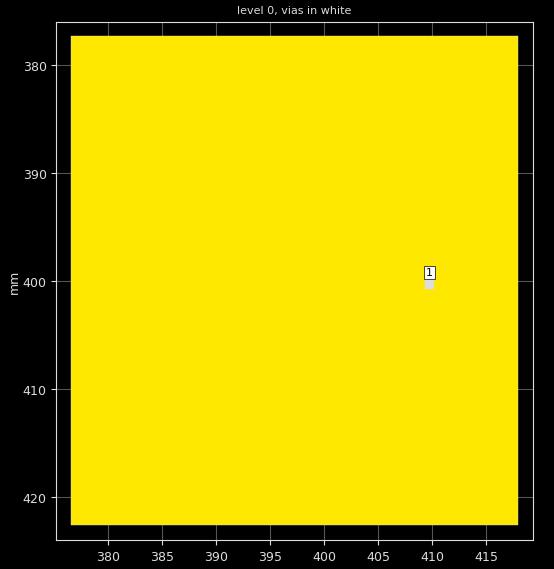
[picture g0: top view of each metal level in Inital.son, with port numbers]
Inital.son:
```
FTYP SONPROJ 4 ! Sonnet Project File
VER 12.52
HEADER
LIC sonnet9.aa.99999
DAT 11/29/2011 10:42:24
BUILT_BY_CREATED example 13.01 02/23/2011 18:03:12
BUILT_BY_SAVED xgeom "14.01.002 alpha"
MDATE 05/20/2011 09:50:02
HDATE 05/20/2011 09:50:02
END HEADER
DIM
FREQ GHZ
IND NH
LNG MM
ANG DEG
CON /OH
CAP PF
RES OH
END DIM
FREQ
SIMPLE 2.086
ABS 2.086 2.6 
STEP 2.12
STEP 2.305
STEP 2.48
END FREQ
CONTROL
SIMPLE
OPTIONS  -dj 
SPEED 0
CACHE_ABS 1
TARG_ABS 300
Q_ACC N
END CONTROL
GEO
SYM
TMET "Free Space" 0 FREESPACE 376.7303136 0 0 0
BMET "Lossless" 0 SUP 0 0 0 0
BOX 1 800 800 2048 2048 20 0
      50 1 1 0 0 0 2 "Air"
      3.04 2.94 1 0.0012 0 0 2 "Rogers RT6002"
POR1 STD
POLY 11 1
0
1 50 0 0 0 409.765625 399.21875 
NUM 2
0 5 -1 N 9 1 1 100 100 0 0 0 Y
417.96875 422.65625
376.5625 422.65625
376.5625 377.34375
417.96875 377.34375
417.96875 422.65625
END
VIA POLYGON
1 5 -1 N 11 1 1 100 100 0 0 0 Y
TOLEVEL 0
409.375 399.21875
410.15625 399.21875
410.15625 400.78125
409.375 400.78125
409.375 399.21875
END
END GEO
OPT
MAX 100
VARS
END OPT
VARSWP
END VARSWP
```
